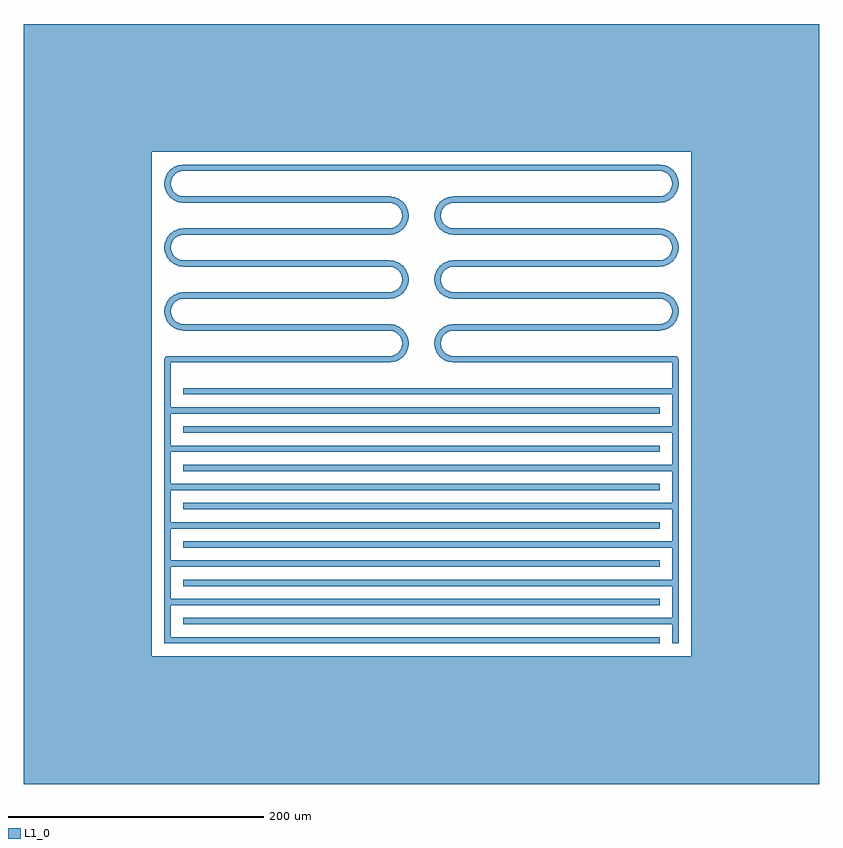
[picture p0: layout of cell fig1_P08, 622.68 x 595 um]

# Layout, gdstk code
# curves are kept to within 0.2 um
import gdstk
lib = gdstk.Library(unit=1e-6, precision=1e-09)
def R(c, l, rs):  # rectangles x0, y0, x1, y1
    for r in rs: c.add(gdstk.rectangle(r[:2], r[2:], *l))
def A(c, l, x, y, w, h, nx, ny, dx, dy):  # array of equal rectangles
    R(c, l, [(x+i*dx, y+j*dy, x+i*dx+w, y+j*dy+h) for i in range(nx) for j in range(ny)])
def P(c, l, *ps):  # polygons
    for p in ps: c.add(gdstk.Polygon(p, *l))
L1_0 = (1, 0)

fig1_p08 = lib.new_cell('fig1_P08')
A(fig1_p08, L1_0, -201.34, 0, 387.68, 5, 1, 7, 0, 30)
A(fig1_p08, L1_0, -186.34, 15, 387.68, 5, 1, 7, 0, 30)
A(fig1_p08, L1_0, -186.34, 245, 161.34, 5, 1, 5, 0, 25)
A(fig1_p08, L1_0, 25, 245, 161.34, 5, 1, 5, 0, 25)
R(fig1_p08, L1_0, [(-311.34,-110,311.34,-10), (-311.34,-10,-211.34,385), (211.34,-10,311.34,385), (-201.34,0,-196.34,200), (196.34,0,201.34,200), (-201.34,197.5,-196.34,222.5), (196.34,197.5,201.34,222.5), (-198.84,220,-25,225), (25,220,198.84,225), (-186.34,370,186.34,375), (-311.34,385,311.34,485)])
P(fig1_p08, L1_0, [(14.979,334.674),(10.021,335.326),(10.447,338.562),(15.405,337.909)],
  [(12.926,335.735),(11.158,336.467),(10.426,338.235),(11.158,340.003),(12.926,340.735),(14.694,340.003),(15.426,338.235),(14.694,336.467)],
  [(12.5,332.5),(10.732,333.232),(10,335),(10.732,336.768),(12.5,337.5),(14.268,336.768),(15,335),(14.268,333.232)],
  [(194.112,347.191),(191.068,351.158),(193.657,353.145),(196.701,349.178)],
  [(190.532,345.616),(188.619,350.236),(191.633,351.484),(193.547,346.865)],
  [(186.666,345.021),(186.014,349.979),(189.249,350.405),(189.902,345.447)],
  [(189.249,369.595),(186.014,370.021),(186.666,374.979),(189.902,374.553)],
  [(191.633,368.516),(188.619,369.764),(190.532,374.384),(193.547,373.135)],
  [(193.657,366.855),(191.068,368.842),(194.112,372.809),(196.701,370.822)],
  [(195.182,364.728),(193.195,367.317),(197.162,370.361),(199.149,367.772)],
  [(196.104,362.279),(194.856,365.293),(199.475,367.207),(200.724,364.192)],
  [(196.361,359.674),(195.935,362.909),(200.893,363.562),(201.319,360.326)],
  [(200.893,356.438),(195.935,357.091),(196.361,360.326),(201.319,359.674)],
  [(186.34,370),(184.572,370.732),(183.84,372.5),(184.572,374.268),(186.34,375),(188.108,374.268),(188.84,372.5),(188.108,370.732)],
  [(189.575,369.574),(187.807,370.306),(187.075,372.074),(187.807,373.842),(189.575,374.574),(191.343,373.842),(192.075,372.074),(191.343,370.306)],
  [(192.59,368.325),(190.822,369.058),(190.09,370.825),(190.822,372.593),(192.59,373.325),(194.358,372.593),(195.09,370.825),(194.358,369.058)],
  [(195.179,366.339),(193.411,367.071),(192.679,368.839),(193.411,370.607),(195.179,371.339),(196.947,370.607),(197.679,368.839),(196.947,367.071)],
  [(197.165,363.75),(195.398,364.482),(194.665,366.25),(195.398,368.018),(197.165,368.75),(198.933,368.018),(199.665,366.25),(198.933,364.482)],
  [(198.414,360.735),(196.646,361.467),(195.914,363.235),(196.646,365.003),(198.414,365.735),(200.182,365.003),(200.914,363.235),(200.182,361.467)],
  [(198.84,357.5),(197.072,358.232),(196.34,360),(197.072,361.768),(198.84,362.5),(200.608,361.768),(201.34,360),(200.608,358.232)],
  [(198.414,354.265),(196.646,354.997),(195.914,356.765),(196.646,358.533),(198.414,359.265),(200.182,358.533),(200.914,356.765),(200.182,354.997)],
  [(197.165,351.25),(195.398,351.982),(194.665,353.75),(195.398,355.518),(197.165,356.25),(198.933,355.518),(199.665,353.75),(198.933,351.982)],
  [(195.179,348.661),(193.411,349.393),(192.679,351.161),(193.411,352.929),(195.179,353.661),(196.947,352.929),(197.679,351.161),(196.947,349.393)],
  [(192.59,346.675),(190.822,347.407),(190.09,349.175),(190.822,350.942),(192.59,351.675),(194.358,350.942),(195.09,349.175),(194.358,347.407)],
  [(189.575,345.426),(187.807,346.158),(187.075,347.926),(187.807,349.694),(189.575,350.426),(191.343,349.694),(192.075,347.926),(191.343,346.158)],
  [(186.34,345),(184.572,345.732),(183.84,347.5),(184.572,349.268),(186.34,350),(188.108,349.268),(188.84,347.5),(188.108,345.732)],
  [(199.475,352.793),(194.856,354.707),(196.104,357.721),(200.724,355.808)],
  [(197.162,349.639),(193.195,352.683),(195.182,355.272),(199.149,352.228)],
  [(19.707,343.516),(17.793,348.135),(20.808,349.384),(22.721,344.764)],
  [(17.683,341.855),(14.639,345.822),(17.228,347.809),(20.272,343.842)],
  [(16.158,339.728),(12.191,342.772),(14.178,345.361),(18.145,342.317)],
  [(25,345),(23.232,345.732),(22.5,347.5),(23.232,349.268),(25,350),(26.768,349.268),(27.5,347.5),(26.768,345.732)],
  [(21.765,344.574),(19.997,345.306),(19.265,347.074),(19.997,348.842),(21.765,349.574),(23.533,348.842),(24.265,347.074),(23.533,345.306)],
  [(18.75,343.325),(16.982,344.058),(16.25,345.825),(16.982,347.593),(18.75,348.325),(20.518,347.593),(21.25,345.825),(20.518,344.058)],
  [(16.161,341.339),(14.393,342.071),(13.661,343.839),(14.393,345.607),(16.161,346.339),(17.929,345.607),(18.661,343.839),(17.929,342.071)],
  [(14.175,338.75),(12.407,339.482),(11.675,341.25),(12.407,343.018),(14.175,343.75),(15.942,343.018),(16.675,341.25),(15.942,339.482)],
  [(15.236,337.279),(10.616,339.192),(11.865,342.207),(16.484,340.293)],
  [(22.091,344.595),(21.438,349.553),(24.674,349.979),(25.326,345.021)],
  [(16.158,239.728),(12.191,242.772),(14.178,245.361),(18.145,242.317)],
  [(15.236,237.279),(10.616,239.192),(11.865,242.207),(16.484,240.293)],
  [(14.979,234.674),(10.021,235.326),(10.447,238.562),(15.405,237.909)],
  [(10.447,231.438),(10.021,234.674),(14.979,235.326),(15.405,232.091)],
  [(11.865,227.793),(10.616,230.808),(15.236,232.721),(16.484,229.707)],
  [(14.178,224.639),(12.191,227.228),(16.158,230.272),(18.145,227.683)],
  [(17.228,222.191),(14.639,224.178),(17.683,228.145),(20.272,226.158)],
  [(20.808,220.616),(17.793,221.865),(19.707,226.484),(22.721,225.236)],
  [(24.674,220.021),(21.438,220.447),(22.091,225.405),(25.326,224.979)],
  [(20.808,320.616),(17.793,321.865),(19.707,326.484),(22.721,325.236)],
  [(24.674,320.021),(21.438,320.447),(22.091,325.405),(25.326,324.979)],
  [(10.447,331.438),(10.021,334.674),(14.979,335.326),(15.405,332.091)],
  [(11.865,327.793),(10.616,330.808),(15.236,332.721),(16.484,329.707)],
  [(22.091,294.595),(21.438,299.553),(24.674,299.979),(25.326,295.021)],
  [(19.707,293.516),(17.793,298.135),(20.808,299.384),(22.721,294.764)],
  [(17.683,291.855),(14.639,295.822),(17.228,297.809),(20.272,293.842)],
  [(16.158,289.728),(12.191,292.772),(14.178,295.361),(18.145,292.317)],
  [(15.236,287.279),(10.616,289.192),(11.865,292.207),(16.484,290.293)],
  [(14.979,284.674),(10.021,285.326),(10.447,288.562),(15.405,287.909)],
  [(10.447,281.438),(10.021,284.674),(14.979,285.326),(15.405,282.091)],
  [(11.865,277.793),(10.616,280.808),(15.236,282.721),(16.484,279.707)],
  [(14.178,274.639),(12.191,277.228),(16.158,280.272),(18.145,277.683)],
  [(17.228,272.191),(14.639,274.178),(17.683,278.145),(20.272,276.158)],
  [(20.808,270.616),(17.793,271.865),(19.707,276.484),(22.721,275.236)],
  [(24.674,270.021),(21.438,270.447),(22.091,275.405),(25.326,274.979)],
  [(14.178,324.639),(12.191,327.228),(16.158,330.272),(18.145,327.683)],
  [(17.228,322.191),(14.639,324.178),(17.683,328.145),(20.272,326.158)],
  [(22.091,244.595),(21.438,249.553),(24.674,249.979),(25.326,245.021)],
  [(19.707,243.516),(17.793,248.135),(20.808,249.384),(22.721,244.764)],
  [(17.683,241.855),(14.639,245.822),(17.228,247.809),(20.272,243.842)],
  [(12.926,329.265),(11.158,329.997),(10.426,331.765),(11.158,333.533),(12.926,334.265),(14.694,333.533),(15.426,331.765),(14.694,329.997)],
  [(14.175,326.25),(12.407,326.982),(11.675,328.75),(12.407,330.518),(14.175,331.25),(15.942,330.518),(16.675,328.75),(15.942,326.982)],
  [(16.161,323.661),(14.393,324.393),(13.661,326.161),(14.393,327.929),(16.161,328.661),(17.929,327.929),(18.661,326.161),(17.929,324.393)],
  [(18.75,321.675),(16.982,322.407),(16.25,324.175),(16.982,325.942),(18.75,326.675),(20.518,325.942),(21.25,324.175),(20.518,322.407)],
  [(21.765,320.426),(19.997,321.158),(19.265,322.926),(19.997,324.694),(21.765,325.426),(23.533,324.694),(24.265,322.926),(23.533,321.158)],
  [(25,320),(23.232,320.732),(22.5,322.5),(23.232,324.268),(25,325),(26.768,324.268),(27.5,322.5),(26.768,320.732)],
  [(25,295),(23.232,295.732),(22.5,297.5),(23.232,299.268),(25,300),(26.768,299.268),(27.5,297.5),(26.768,295.732)],
  [(21.765,294.574),(19.997,295.306),(19.265,297.074),(19.997,298.842),(21.765,299.574),(23.533,298.842),(24.265,297.074),(23.533,295.306)],
  [(18.75,293.325),(16.982,294.058),(16.25,295.825),(16.982,297.593),(18.75,298.325),(20.518,297.593),(21.25,295.825),(20.518,294.058)],
  [(16.161,291.339),(14.393,292.071),(13.661,293.839),(14.393,295.607),(16.161,296.339),(17.929,295.607),(18.661,293.839),(17.929,292.071)],
  [(14.175,288.75),(12.407,289.482),(11.675,291.25),(12.407,293.018),(14.175,293.75),(15.942,293.018),(16.675,291.25),(15.942,289.482)],
  [(12.926,285.735),(11.158,286.467),(10.426,288.235),(11.158,290.003),(12.926,290.735),(14.694,290.003),(15.426,288.235),(14.694,286.467)],
  [(12.5,282.5),(10.732,283.232),(10,285),(10.732,286.768),(12.5,287.5),(14.268,286.768),(15,285),(14.268,283.232)],
  [(12.926,279.265),(11.158,279.997),(10.426,281.765),(11.158,283.533),(12.926,284.265),(14.694,283.533),(15.426,281.765),(14.694,279.997)],
  [(14.175,276.25),(12.407,276.982),(11.675,278.75),(12.407,280.518),(14.175,281.25),(15.942,280.518),(16.675,278.75),(15.942,276.982)],
  [(16.161,273.661),(14.393,274.393),(13.661,276.161),(14.393,277.929),(16.161,278.661),(17.929,277.929),(18.661,276.161),(17.929,274.393)],
  [(18.75,271.675),(16.982,272.407),(16.25,274.175),(16.982,275.942),(18.75,276.675),(20.518,275.942),(21.25,274.175),(20.518,272.407)],
  [(21.765,270.426),(19.997,271.158),(19.265,272.926),(19.997,274.694),(21.765,275.426),(23.533,274.694),(24.265,272.926),(23.533,271.158)],
  [(25,270),(23.232,270.732),(22.5,272.5),(23.232,274.268),(25,275),(26.768,274.268),(27.5,272.5),(26.768,270.732)],
  [(25,245),(23.232,245.732),(22.5,247.5),(23.232,249.268),(25,250),(26.768,249.268),(27.5,247.5),(26.768,245.732)],
  [(21.765,244.574),(19.997,245.306),(19.265,247.074),(19.997,248.842),(21.765,249.574),(23.533,248.842),(24.265,247.074),(23.533,245.306)],
  [(18.75,243.325),(16.982,244.058),(16.25,245.825),(16.982,247.593),(18.75,248.325),(20.518,247.593),(21.25,245.825),(20.518,244.058)],
  [(16.161,241.339),(14.393,242.071),(13.661,243.839),(14.393,245.607),(16.161,246.339),(17.929,245.607),(18.661,243.839),(17.929,242.071)],
  [(14.175,238.75),(12.407,239.482),(11.675,241.25),(12.407,243.018),(14.175,243.75),(15.942,243.018),(16.675,241.25),(15.942,239.482)],
  [(12.926,235.735),(11.158,236.467),(10.426,238.235),(11.158,240.003),(12.926,240.735),(14.694,240.003),(15.426,238.235),(14.694,236.467)],
  [(12.5,232.5),(10.732,233.232),(10,235),(10.732,236.768),(12.5,237.5),(14.268,236.768),(15,235),(14.268,233.232)],
  [(12.926,229.265),(11.158,229.997),(10.426,231.765),(11.158,233.533),(12.926,234.265),(14.694,233.533),(15.426,231.765),(14.694,229.997)],
  [(14.175,226.25),(12.407,226.982),(11.675,228.75),(12.407,230.518),(14.175,231.25),(15.942,230.518),(16.675,228.75),(15.942,226.982)],
  [(16.161,223.661),(14.393,224.393),(13.661,226.161),(14.393,227.929),(16.161,228.661),(17.929,227.929),(18.661,226.161),(17.929,224.393)],
  [(18.75,221.675),(16.982,222.407),(16.25,224.175),(16.982,225.942),(18.75,226.675),(20.518,225.942),(21.25,224.175),(20.518,222.407)],
  [(21.765,220.426),(19.997,221.158),(19.265,222.926),(19.997,224.694),(21.765,225.426),(23.533,224.694),(24.265,222.926),(23.533,221.158)],
  [(25,220),(23.232,220.732),(22.5,222.5),(23.232,224.268),(25,225),(26.768,224.268),(27.5,222.5),(26.768,220.732)],
  [(189.575,319.574),(187.807,320.306),(187.075,322.074),(187.807,323.842),(189.575,324.574),(191.343,323.842),(192.075,322.074),(191.343,320.306)],
  [(192.59,318.325),(190.822,319.058),(190.09,320.825),(190.822,322.593),(192.59,323.325),(194.358,322.593),(195.09,320.825),(194.358,319.058)],
  [(195.179,316.339),(193.411,317.071),(192.679,318.839),(193.411,320.607),(195.179,321.339),(196.947,320.607),(197.679,318.839),(196.947,317.071)],
  [(197.165,313.75),(195.398,314.482),(194.665,316.25),(195.398,318.018),(197.165,318.75),(198.933,318.018),(199.665,316.25),(198.933,314.482)],
  [(198.414,310.735),(196.646,311.467),(195.914,313.235),(196.646,315.003),(198.414,315.735),(200.182,315.003),(200.914,313.235),(200.182,311.467)],
  [(198.84,307.5),(197.072,308.232),(196.34,310),(197.072,311.768),(198.84,312.5),(200.608,311.768),(201.34,310),(200.608,308.232)],
  [(198.414,304.265),(196.646,304.997),(195.914,306.765),(196.646,308.533),(198.414,309.265),(200.182,308.533),(200.914,306.765),(200.182,304.997)],
  [(197.165,301.25),(195.398,301.982),(194.665,303.75),(195.398,305.518),(197.165,306.25),(198.933,305.518),(199.665,303.75),(198.933,301.982)],
  [(195.179,298.661),(193.411,299.393),(192.679,301.161),(193.411,302.929),(195.179,303.661),(196.947,302.929),(197.679,301.161),(196.947,299.393)],
  [(192.59,296.675),(190.822,297.407),(190.09,299.175),(190.822,300.942),(192.59,301.675),(194.358,300.942),(195.09,299.175),(194.358,297.407)],
  [(189.575,295.426),(187.807,296.158),(187.075,297.926),(187.807,299.694),(189.575,300.426),(191.343,299.694),(192.075,297.926),(191.343,296.158)],
  [(186.34,295),(184.572,295.732),(183.84,297.5),(184.572,299.268),(186.34,300),(188.108,299.268),(188.84,297.5),(188.108,295.732)],
  [(193.657,266.855),(191.068,268.842),(194.112,272.809),(196.701,270.822)],
  [(195.182,264.728),(193.195,267.317),(197.162,270.361),(199.149,267.772)],
  [(196.104,262.279),(194.856,265.293),(199.475,267.207),(200.724,264.192)],
  [(196.361,259.674),(195.935,262.909),(200.893,263.562),(201.319,260.326)],
  [(200.893,256.438),(195.935,257.091),(196.361,260.326),(201.319,259.674)],
  [(199.475,252.793),(194.856,254.707),(196.104,257.721),(200.724,255.808)],
  [(197.162,249.639),(193.195,252.683),(195.182,255.272),(199.149,252.228)],
  [(194.112,247.191),(191.068,251.158),(193.657,253.145),(196.701,249.178)],
  [(190.532,245.616),(188.619,250.236),(191.633,251.484),(193.547,246.865)],
  [(186.666,245.021),(186.014,249.979),(189.249,250.405),(189.902,245.447)],
  [(189.249,319.595),(186.014,320.021),(186.666,324.979),(189.902,324.553)],
  [(191.633,318.516),(188.619,319.764),(190.532,324.384),(193.547,323.135)],
  [(193.657,316.855),(191.068,318.842),(194.112,322.809),(196.701,320.822)],
  [(186.34,270),(184.572,270.732),(183.84,272.5),(184.572,274.268),(186.34,275),(188.108,274.268),(188.84,272.5),(188.108,270.732)],
  [(189.575,269.574),(187.807,270.306),(187.075,272.074),(187.807,273.842),(189.575,274.574),(191.343,273.842),(192.075,272.074),(191.343,270.306)],
  [(192.59,268.325),(190.822,269.058),(190.09,270.825),(190.822,272.593),(192.59,273.325),(194.358,272.593),(195.09,270.825),(194.358,269.058)],
  [(195.179,266.339),(193.411,267.071),(192.679,268.839),(193.411,270.607),(195.179,271.339),(196.947,270.607),(197.679,268.839),(196.947,267.071)],
  [(197.165,263.75),(195.398,264.482),(194.665,266.25),(195.398,268.018),(197.165,268.75),(198.933,268.018),(199.665,266.25),(198.933,264.482)],
  [(198.414,260.735),(196.646,261.467),(195.914,263.235),(196.646,265.003),(198.414,265.735),(200.182,265.003),(200.914,263.235),(200.182,261.467)],
  [(198.84,257.5),(197.072,258.232),(196.34,260),(197.072,261.768),(198.84,262.5),(200.608,261.768),(201.34,260),(200.608,258.232)],
  [(198.414,254.265),(196.646,254.997),(195.914,256.765),(196.646,258.533),(198.414,259.265),(200.182,258.533),(200.914,256.765),(200.182,254.997)],
  [(197.165,251.25),(195.398,251.982),(194.665,253.75),(195.398,255.518),(197.165,256.25),(198.933,255.518),(199.665,253.75),(198.933,251.982)],
  [(195.179,248.661),(193.411,249.393),(192.679,251.161),(193.411,252.929),(195.179,253.661),(196.947,252.929),(197.679,251.161),(196.947,249.393)],
  [(192.59,246.675),(190.822,247.407),(190.09,249.175),(190.822,250.942),(192.59,251.675),(194.358,250.942),(195.09,249.175),(194.358,247.407)],
  [(189.575,245.426),(187.807,246.158),(187.075,247.926),(187.807,249.694),(189.575,250.426),(191.343,249.694),(192.075,247.926),(191.343,246.158)],
  [(186.34,245),(184.572,245.732),(183.84,247.5),(184.572,249.268),(186.34,250),(188.108,249.268),(188.84,247.5),(188.108,245.732)],
  [(195.182,314.728),(193.195,317.317),(197.162,320.361),(199.149,317.772)],
  [(196.104,312.279),(194.856,315.293),(199.475,317.207),(200.724,314.192)],
  [(196.361,309.674),(195.935,312.909),(200.893,313.562),(201.319,310.326)],
  [(200.893,306.438),(195.935,307.091),(196.361,310.326),(201.319,309.674)],
  [(199.475,302.793),(194.856,304.707),(196.104,307.721),(200.724,305.808)],
  [(197.162,299.639),(193.195,302.683),(195.182,305.272),(199.149,302.228)],
  [(194.112,297.191),(191.068,301.158),(193.657,303.145),(196.701,299.178)],
  [(190.532,295.616),(188.619,300.236),(191.633,301.484),(193.547,296.865)],
  [(186.666,295.021),(186.014,299.979),(189.249,300.405),(189.902,295.447)],
  [(189.249,269.595),(186.014,270.021),(186.666,274.979),(189.902,274.553)],
  [(191.633,268.516),(188.619,269.764),(190.532,274.384),(193.547,273.135)],
  [(186.34,320),(184.572,320.732),(183.84,322.5),(184.572,324.268),(186.34,325),(188.108,324.268),(188.84,322.5),(188.108,320.732)],
  [(198.84,220),(197.072,220.732),(196.34,222.5),(197.072,224.268),(198.84,225),(200.608,224.268),(201.34,222.5),(200.608,220.732)],
  [(-12.5,332.5),(-14.268,333.232),(-15,335),(-14.268,336.768),(-12.5,337.5),(-10.732,336.768),(-10,335),(-10.732,333.232)],
  [(-12.926,335.735),(-14.694,336.467),(-15.426,338.235),(-14.694,340.003),(-12.926,340.735),(-11.158,340.003),(-10.426,338.235),(-11.158,336.467)],
  [(-14.979,334.674),(-15.405,337.909),(-10.447,338.562),(-10.021,335.326)],
  [(-18.75,343.325),(-20.518,344.058),(-21.25,345.825),(-20.518,347.593),(-18.75,348.325),(-16.982,347.593),(-16.25,345.825),(-16.982,344.058)],
  [(-21.765,344.574),(-23.533,345.306),(-24.265,347.074),(-23.533,348.842),(-21.765,349.574),(-19.997,348.842),(-19.265,347.074),(-19.997,345.306)],
  [(-25,345),(-26.768,345.732),(-27.5,347.5),(-26.768,349.268),(-25,350),(-23.232,349.268),(-22.5,347.5),(-23.232,345.732)],
  [(-14.175,338.75),(-15.942,339.482),(-16.675,341.25),(-15.942,343.018),(-14.175,343.75),(-12.407,343.018),(-11.675,341.25),(-12.407,339.482)],
  [(-15.236,337.279),(-16.484,340.293),(-11.865,342.207),(-10.616,339.192)],
  [(-16.158,339.728),(-18.145,342.317),(-14.178,345.361),(-12.191,342.772)],
  [(-17.683,341.855),(-20.272,343.842),(-17.228,347.809),(-14.639,345.822)],
  [(-19.707,343.516),(-22.721,344.764),(-20.808,349.384),(-17.793,348.135)],
  [(-22.091,344.595),(-25.326,345.021),(-24.674,349.979),(-21.438,349.553)],
  [(-16.161,341.339),(-17.929,342.071),(-18.661,343.839),(-17.929,345.607),(-16.161,346.339),(-14.393,345.607),(-13.661,343.839),(-14.393,342.071)],
  [(-186.34,370),(-188.108,370.732),(-188.84,372.5),(-188.108,374.268),(-186.34,375),(-184.572,374.268),(-183.84,372.5),(-184.572,370.732)],
  [(-186.34,345),(-188.108,345.732),(-188.84,347.5),(-188.108,349.268),(-186.34,350),(-184.572,349.268),(-183.84,347.5),(-184.572,345.732)],
  [(-189.575,345.426),(-191.343,346.158),(-192.075,347.926),(-191.343,349.694),(-189.575,350.426),(-187.807,349.694),(-187.075,347.926),(-187.807,346.158)],
  [(-192.59,346.675),(-194.358,347.407),(-195.09,349.175),(-194.358,350.942),(-192.59,351.675),(-190.822,350.942),(-190.09,349.175),(-190.822,347.407)],
  [(-195.179,348.661),(-196.947,349.393),(-197.679,351.161),(-196.947,352.929),(-195.179,353.661),(-193.411,352.929),(-192.679,351.161),(-193.411,349.393)],
  [(-197.165,351.25),(-198.933,351.982),(-199.665,353.75),(-198.933,355.518),(-197.165,356.25),(-195.398,355.518),(-194.665,353.75),(-195.398,351.982)],
  [(-198.414,354.265),(-200.182,354.997),(-200.914,356.765),(-200.182,358.533),(-198.414,359.265),(-196.646,358.533),(-195.914,356.765),(-196.646,354.997)],
  [(-198.84,357.5),(-200.608,358.232),(-201.34,360),(-200.608,361.768),(-198.84,362.5),(-197.072,361.768),(-196.34,360),(-197.072,358.232)],
  [(-198.414,360.735),(-200.182,361.467),(-200.914,363.235),(-200.182,365.003),(-198.414,365.735),(-196.646,365.003),(-195.914,363.235),(-196.646,361.467)],
  [(-197.165,363.75),(-198.933,364.482),(-199.665,366.25),(-198.933,368.018),(-197.165,368.75),(-195.398,368.018),(-194.665,366.25),(-195.398,364.482)],
  [(-195.179,366.339),(-196.947,367.071),(-197.679,368.839),(-196.947,370.607),(-195.179,371.339),(-193.411,370.607),(-192.679,368.839),(-193.411,367.071)],
  [(-192.59,368.325),(-194.358,369.058),(-195.09,370.825),(-194.358,372.593),(-192.59,373.325),(-190.822,372.593),(-190.09,370.825),(-190.822,369.058)],
  [(-189.575,369.574),(-191.343,370.306),(-192.075,372.074),(-191.343,373.842),(-189.575,374.574),(-187.807,373.842),(-187.075,372.074),(-187.807,370.306)],
  [(-186.666,345.021),(-189.902,345.447),(-189.249,350.405),(-186.014,349.979)],
  [(-190.532,345.616),(-193.547,346.865),(-191.633,351.484),(-188.619,350.236)],
  [(-194.112,347.191),(-196.701,349.178),(-193.657,353.145),(-191.068,351.158)],
  [(-197.162,349.639),(-199.149,352.228),(-195.182,355.272),(-193.195,352.683)],
  [(-199.475,352.793),(-200.724,355.808),(-196.104,357.721),(-194.856,354.707)],
  [(-200.893,356.438),(-201.319,359.674),(-196.361,360.326),(-195.935,357.091)],
  [(-196.361,359.674),(-201.319,360.326),(-200.893,363.562),(-195.935,362.909)],
  [(-196.104,362.279),(-200.724,364.192),(-199.475,367.207),(-194.856,365.293)],
  [(-195.182,364.728),(-199.149,367.772),(-197.162,370.361),(-193.195,367.317)],
  [(-193.657,366.855),(-196.701,370.822),(-194.112,372.809),(-191.068,368.842)],
  [(-191.633,368.516),(-193.547,373.135),(-190.532,374.384),(-188.619,369.764)],
  [(-189.249,369.595),(-189.902,374.553),(-186.666,374.979),(-186.014,370.021)],
  [(-195.179,298.661),(-196.947,299.393),(-197.679,301.161),(-196.947,302.929),(-195.179,303.661),(-193.411,302.929),(-192.679,301.161),(-193.411,299.393)],
  [(-197.165,301.25),(-198.933,301.982),(-199.665,303.75),(-198.933,305.518),(-197.165,306.25),(-195.398,305.518),(-194.665,303.75),(-195.398,301.982)],
  [(-198.414,304.265),(-200.182,304.997),(-200.914,306.765),(-200.182,308.533),(-198.414,309.265),(-196.646,308.533),(-195.914,306.765),(-196.646,304.997)],
  [(-198.84,307.5),(-200.608,308.232),(-201.34,310),(-200.608,311.768),(-198.84,312.5),(-197.072,311.768),(-196.34,310),(-197.072,308.232)],
  [(-198.414,310.735),(-200.182,311.467),(-200.914,313.235),(-200.182,315.003),(-198.414,315.735),(-196.646,315.003),(-195.914,313.235),(-196.646,311.467)],
  [(-186.666,245.021),(-189.902,245.447),(-189.249,250.405),(-186.014,249.979)],
  [(-190.532,245.616),(-193.547,246.865),(-191.633,251.484),(-188.619,250.236)],
  [(-194.112,247.191),(-196.701,249.178),(-193.657,253.145),(-191.068,251.158)],
  [(-197.162,249.639),(-199.149,252.228),(-195.182,255.272),(-193.195,252.683)],
  [(-199.475,252.793),(-200.724,255.808),(-196.104,257.721),(-194.856,254.707)],
  [(-200.893,256.438),(-201.319,259.674),(-196.361,260.326),(-195.935,257.091)],
  [(-196.361,259.674),(-201.319,260.326),(-200.893,263.562),(-195.935,262.909)],
  [(-196.104,262.279),(-200.724,264.192),(-199.475,267.207),(-194.856,265.293)],
  [(-195.182,264.728),(-199.149,267.772),(-197.162,270.361),(-193.195,267.317)],
  [(-193.657,266.855),(-196.701,270.822),(-194.112,272.809),(-191.068,268.842)],
  [(-191.633,268.516),(-193.547,273.135),(-190.532,274.384),(-188.619,269.764)],
  [(-189.249,269.595),(-189.902,274.553),(-186.666,274.979),(-186.014,270.021)],
  [(-197.165,313.75),(-198.933,314.482),(-199.665,316.25),(-198.933,318.018),(-197.165,318.75),(-195.398,318.018),(-194.665,316.25),(-195.398,314.482)],
  [(-195.179,316.339),(-196.947,317.071),(-197.679,318.839),(-196.947,320.607),(-195.179,321.339),(-193.411,320.607),(-192.679,318.839),(-193.411,317.071)],
  [(-186.666,295.021),(-189.902,295.447),(-189.249,300.405),(-186.014,299.979)],
  [(-190.532,295.616),(-193.547,296.865),(-191.633,301.484),(-188.619,300.236)],
  [(-194.112,297.191),(-196.701,299.178),(-193.657,303.145),(-191.068,301.158)],
  [(-197.162,299.639),(-199.149,302.228),(-195.182,305.272),(-193.195,302.683)],
  [(-199.475,302.793),(-200.724,305.808),(-196.104,307.721),(-194.856,304.707)],
  [(-200.893,306.438),(-201.319,309.674),(-196.361,310.326),(-195.935,307.091)],
  [(-196.361,309.674),(-201.319,310.326),(-200.893,313.562),(-195.935,312.909)],
  [(-196.104,312.279),(-200.724,314.192),(-199.475,317.207),(-194.856,315.293)],
  [(-195.182,314.728),(-199.149,317.772),(-197.162,320.361),(-193.195,317.317)],
  [(-193.657,316.855),(-196.701,320.822),(-194.112,322.809),(-191.068,318.842)],
  [(-191.633,318.516),(-193.547,323.135),(-190.532,324.384),(-188.619,319.764)],
  [(-189.249,319.595),(-189.902,324.553),(-186.666,324.979),(-186.014,320.021)],
  [(-192.59,318.325),(-194.358,319.058),(-195.09,320.825),(-194.358,322.593),(-192.59,323.325),(-190.822,322.593),(-190.09,320.825),(-190.822,319.058)],
  [(-189.575,319.574),(-191.343,320.306),(-192.075,322.074),(-191.343,323.842),(-189.575,324.574),(-187.807,323.842),(-187.075,322.074),(-187.807,320.306)],
  [(-186.34,320),(-188.108,320.732),(-188.84,322.5),(-188.108,324.268),(-186.34,325),(-184.572,324.268),(-183.84,322.5),(-184.572,320.732)],
  [(-198.84,220),(-200.608,220.732),(-201.34,222.5),(-200.608,224.268),(-198.84,225),(-197.072,224.268),(-196.34,222.5),(-197.072,220.732)],
  [(-186.34,245),(-188.108,245.732),(-188.84,247.5),(-188.108,249.268),(-186.34,250),(-184.572,249.268),(-183.84,247.5),(-184.572,245.732)],
  [(-189.575,245.426),(-191.343,246.158),(-192.075,247.926),(-191.343,249.694),(-189.575,250.426),(-187.807,249.694),(-187.075,247.926),(-187.807,246.158)],
  [(-192.59,246.675),(-194.358,247.407),(-195.09,249.175),(-194.358,250.942),(-192.59,251.675),(-190.822,250.942),(-190.09,249.175),(-190.822,247.407)],
  [(-195.179,248.661),(-196.947,249.393),(-197.679,251.161),(-196.947,252.929),(-195.179,253.661),(-193.411,252.929),(-192.679,251.161),(-193.411,249.393)],
  [(-197.165,251.25),(-198.933,251.982),(-199.665,253.75),(-198.933,255.518),(-197.165,256.25),(-195.398,255.518),(-194.665,253.75),(-195.398,251.982)],
  [(-198.414,254.265),(-200.182,254.997),(-200.914,256.765),(-200.182,258.533),(-198.414,259.265),(-196.646,258.533),(-195.914,256.765),(-196.646,254.997)],
  [(-198.84,257.5),(-200.608,258.232),(-201.34,260),(-200.608,261.768),(-198.84,262.5),(-197.072,261.768),(-196.34,260),(-197.072,258.232)],
  [(-198.414,260.735),(-200.182,261.467),(-200.914,263.235),(-200.182,265.003),(-198.414,265.735),(-196.646,265.003),(-195.914,263.235),(-196.646,261.467)],
  [(-197.165,263.75),(-198.933,264.482),(-199.665,266.25),(-198.933,268.018),(-197.165,268.75),(-195.398,268.018),(-194.665,266.25),(-195.398,264.482)],
  [(-195.179,266.339),(-196.947,267.071),(-197.679,268.839),(-196.947,270.607),(-195.179,271.339),(-193.411,270.607),(-192.679,268.839),(-193.411,267.071)],
  [(-192.59,268.325),(-194.358,269.058),(-195.09,270.825),(-194.358,272.593),(-192.59,273.325),(-190.822,272.593),(-190.09,270.825),(-190.822,269.058)],
  [(-189.575,269.574),(-191.343,270.306),(-192.075,272.074),(-191.343,273.842),(-189.575,274.574),(-187.807,273.842),(-187.075,272.074),(-187.807,270.306)],
  [(-186.34,270),(-188.108,270.732),(-188.84,272.5),(-188.108,274.268),(-186.34,275),(-184.572,274.268),(-183.84,272.5),(-184.572,270.732)],
  [(-186.34,295),(-188.108,295.732),(-188.84,297.5),(-188.108,299.268),(-186.34,300),(-184.572,299.268),(-183.84,297.5),(-184.572,295.732)],
  [(-189.575,295.426),(-191.343,296.158),(-192.075,297.926),(-191.343,299.694),(-189.575,300.426),(-187.807,299.694),(-187.075,297.926),(-187.807,296.158)],
  [(-192.59,296.675),(-194.358,297.407),(-195.09,299.175),(-194.358,300.942),(-192.59,301.675),(-190.822,300.942),(-190.09,299.175),(-190.822,297.407)],
  [(-25,245),(-26.768,245.732),(-27.5,247.5),(-26.768,249.268),(-25,250),(-23.232,249.268),(-22.5,247.5),(-23.232,245.732)],
  [(-25,320),(-26.768,320.732),(-27.5,322.5),(-26.768,324.268),(-25,325),(-23.232,324.268),(-22.5,322.5),(-23.232,320.732)],
  [(-21.765,320.426),(-23.533,321.158),(-24.265,322.926),(-23.533,324.694),(-21.765,325.426),(-19.997,324.694),(-19.265,322.926),(-19.997,321.158)],
  [(-18.75,321.675),(-20.518,322.407),(-21.25,324.175),(-20.518,325.942),(-18.75,326.675),(-16.982,325.942),(-16.25,324.175),(-16.982,322.407)],
  [(-16.161,323.661),(-17.929,324.393),(-18.661,326.161),(-17.929,327.929),(-16.161,328.661),(-14.393,327.929),(-13.661,326.161),(-14.393,324.393)],
  [(-14.175,326.25),(-15.942,326.982),(-16.675,328.75),(-15.942,330.518),(-14.175,331.25),(-12.407,330.518),(-11.675,328.75),(-12.407,326.982)],
  [(-12.926,329.265),(-14.694,329.997),(-15.426,331.765),(-14.694,333.533),(-12.926,334.265),(-11.158,333.533),(-10.426,331.765),(-11.158,329.997)],
  [(-25,270),(-26.768,270.732),(-27.5,272.5),(-26.768,274.268),(-25,275),(-23.232,274.268),(-22.5,272.5),(-23.232,270.732)],
  [(-21.765,270.426),(-23.533,271.158),(-24.265,272.926),(-23.533,274.694),(-21.765,275.426),(-19.997,274.694),(-19.265,272.926),(-19.997,271.158)],
  [(-18.75,271.675),(-20.518,272.407),(-21.25,274.175),(-20.518,275.942),(-18.75,276.675),(-16.982,275.942),(-16.25,274.175),(-16.982,272.407)],
  [(-16.161,273.661),(-17.929,274.393),(-18.661,276.161),(-17.929,277.929),(-16.161,278.661),(-14.393,277.929),(-13.661,276.161),(-14.393,274.393)],
  [(-24.674,270.021),(-25.326,274.979),(-22.091,275.405),(-21.438,270.447)],
  [(-20.808,270.616),(-22.721,275.236),(-19.707,276.484),(-17.793,271.865)],
  [(-17.228,272.191),(-20.272,276.158),(-17.683,278.145),(-14.639,274.178)],
  [(-14.178,274.639),(-18.145,277.683),(-16.158,280.272),(-12.191,277.228)],
  [(-11.865,277.793),(-16.484,279.707),(-15.236,282.721),(-10.616,280.808)],
  [(-10.447,281.438),(-15.405,282.091),(-14.979,285.326),(-10.021,284.674)],
  [(-14.979,284.674),(-15.405,287.909),(-10.447,288.562),(-10.021,285.326)],
  [(-15.236,287.279),(-16.484,290.293),(-11.865,292.207),(-10.616,289.192)],
  [(-16.158,289.728),(-18.145,292.317),(-14.178,295.361),(-12.191,292.772)],
  [(-17.683,291.855),(-20.272,293.842),(-17.228,297.809),(-14.639,295.822)],
  [(-19.707,293.516),(-22.721,294.764),(-20.808,299.384),(-17.793,298.135)],
  [(-22.091,294.595),(-25.326,295.021),(-24.674,299.979),(-21.438,299.553)],
  [(-14.175,276.25),(-15.942,276.982),(-16.675,278.75),(-15.942,280.518),(-14.175,281.25),(-12.407,280.518),(-11.675,278.75),(-12.407,276.982)],
  [(-12.926,279.265),(-14.694,279.997),(-15.426,281.765),(-14.694,283.533),(-12.926,284.265),(-11.158,283.533),(-10.426,281.765),(-11.158,279.997)],
  [(-12.5,282.5),(-14.268,283.232),(-15,285),(-14.268,286.768),(-12.5,287.5),(-10.732,286.768),(-10,285),(-10.732,283.232)],
  [(-12.926,285.735),(-14.694,286.467),(-15.426,288.235),(-14.694,290.003),(-12.926,290.735),(-11.158,290.003),(-10.426,288.235),(-11.158,286.467)],
  [(-14.175,288.75),(-15.942,289.482),(-16.675,291.25),(-15.942,293.018),(-14.175,293.75),(-12.407,293.018),(-11.675,291.25),(-12.407,289.482)],
  [(-16.161,291.339),(-17.929,292.071),(-18.661,293.839),(-17.929,295.607),(-16.161,296.339),(-14.393,295.607),(-13.661,293.839),(-14.393,292.071)],
  [(-18.75,293.325),(-20.518,294.058),(-21.25,295.825),(-20.518,297.593),(-18.75,298.325),(-16.982,297.593),(-16.25,295.825),(-16.982,294.058)],
  [(-21.765,294.574),(-23.533,295.306),(-24.265,297.074),(-23.533,298.842),(-21.765,299.574),(-19.997,298.842),(-19.265,297.074),(-19.997,295.306)],
  [(-25,295),(-26.768,295.732),(-27.5,297.5),(-26.768,299.268),(-25,300),(-23.232,299.268),(-22.5,297.5),(-23.232,295.732)],
  [(-25,220),(-26.768,220.732),(-27.5,222.5),(-26.768,224.268),(-25,225),(-23.232,224.268),(-22.5,222.5),(-23.232,220.732)],
  [(-21.765,220.426),(-23.533,221.158),(-24.265,222.926),(-23.533,224.694),(-21.765,225.426),(-19.997,224.694),(-19.265,222.926),(-19.997,221.158)],
  [(-18.75,221.675),(-20.518,222.407),(-21.25,224.175),(-20.518,225.942),(-18.75,226.675),(-16.982,225.942),(-16.25,224.175),(-16.982,222.407)],
  [(-16.161,223.661),(-17.929,224.393),(-18.661,226.161),(-17.929,227.929),(-16.161,228.661),(-14.393,227.929),(-13.661,226.161),(-14.393,224.393)],
  [(-14.175,226.25),(-15.942,226.982),(-16.675,228.75),(-15.942,230.518),(-14.175,231.25),(-12.407,230.518),(-11.675,228.75),(-12.407,226.982)],
  [(-24.674,320.021),(-25.326,324.979),(-22.091,325.405),(-21.438,320.447)],
  [(-20.808,320.616),(-22.721,325.236),(-19.707,326.484),(-17.793,321.865)],
  [(-17.228,322.191),(-20.272,326.158),(-17.683,328.145),(-14.639,324.178)],
  [(-14.178,324.639),(-18.145,327.683),(-16.158,330.272),(-12.191,327.228)],
  [(-11.865,327.793),(-16.484,329.707),(-15.236,332.721),(-10.616,330.808)],
  [(-10.447,331.438),(-15.405,332.091),(-14.979,335.326),(-10.021,334.674)],
  [(-12.926,229.265),(-14.694,229.997),(-15.426,231.765),(-14.694,233.533),(-12.926,234.265),(-11.158,233.533),(-10.426,231.765),(-11.158,229.997)],
  [(-12.5,232.5),(-14.268,233.232),(-15,235),(-14.268,236.768),(-12.5,237.5),(-10.732,236.768),(-10,235),(-10.732,233.232)],
  [(-12.926,235.735),(-14.694,236.467),(-15.426,238.235),(-14.694,240.003),(-12.926,240.735),(-11.158,240.003),(-10.426,238.235),(-11.158,236.467)],
  [(-14.175,238.75),(-15.942,239.482),(-16.675,241.25),(-15.942,243.018),(-14.175,243.75),(-12.407,243.018),(-11.675,241.25),(-12.407,239.482)],
  [(-24.674,220.021),(-25.326,224.979),(-22.091,225.405),(-21.438,220.447)],
  [(-20.808,220.616),(-22.721,225.236),(-19.707,226.484),(-17.793,221.865)],
  [(-17.228,222.191),(-20.272,226.158),(-17.683,228.145),(-14.639,224.178)],
  [(-14.178,224.639),(-18.145,227.683),(-16.158,230.272),(-12.191,227.228)],
  [(-11.865,227.793),(-16.484,229.707),(-15.236,232.721),(-10.616,230.808)],
  [(-10.447,231.438),(-15.405,232.091),(-14.979,235.326),(-10.021,234.674)],
  [(-14.979,234.674),(-15.405,237.909),(-10.447,238.562),(-10.021,235.326)],
  [(-15.236,237.279),(-16.484,240.293),(-11.865,242.207),(-10.616,239.192)],
  [(-16.158,239.728),(-18.145,242.317),(-14.178,245.361),(-12.191,242.772)],
  [(-17.683,241.855),(-20.272,243.842),(-17.228,247.809),(-14.639,245.822)],
  [(-19.707,243.516),(-22.721,244.764),(-20.808,249.384),(-17.793,248.135)],
  [(-22.091,244.595),(-25.326,245.021),(-24.674,249.979),(-21.438,249.553)],
  [(-16.161,241.339),(-17.929,242.071),(-18.661,243.839),(-17.929,245.607),(-16.161,246.339),(-14.393,245.607),(-13.661,243.839),(-14.393,242.071)],
  [(-18.75,243.325),(-20.518,244.058),(-21.25,245.825),(-20.518,247.593),(-18.75,248.325),(-16.982,247.593),(-16.25,245.825),(-16.982,244.058)],
  [(-21.765,244.574),(-23.533,245.306),(-24.265,247.074),(-23.533,248.842),(-21.765,249.574),(-19.997,248.842),(-19.265,247.074),(-19.997,245.306)])

lib.write_gds('fig1_P08.gds')
